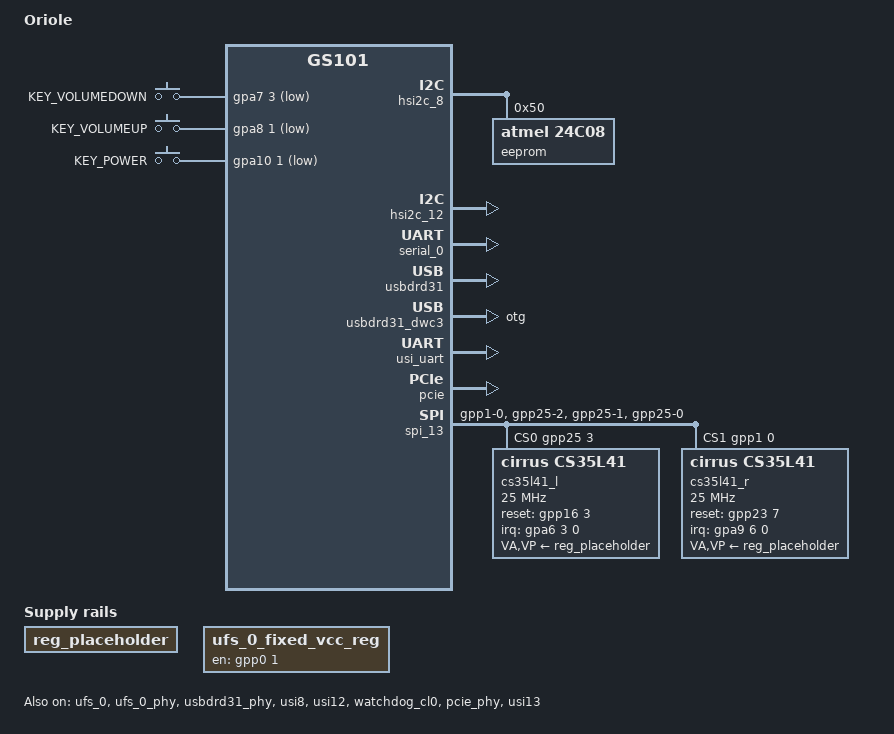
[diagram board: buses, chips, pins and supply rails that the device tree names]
// SPDX-License-Identifier: GPL-2.0-only
/*
 * Oriole Device Tree
 *
 * Copyright 2021-2023 Google LLC
 * Copyright 2023 Linaro Ltd - <peter.griffin@linaro.org>
 */

/dts-v1/;

#include <dt-bindings/gpio/gpio.h>
#include <dt-bindings/input/input.h>
#include "gs101-pinctrl.h"
#include "gs101.dtsi"

/ {
	model = "Oriole";
	compatible = "google,gs101-oriole", "google,gs101";

	aliases {
		serial0 = &serial_0;
	};

	chosen {
		/* Bootloader expects bootargs specified otherwise it crashes */
		bootargs = "";
		stdout-path = &serial_0;
	};

	gpio-keys {
		compatible = "gpio-keys";
		pinctrl-0 = <&key_voldown>, <&key_volup>, <&key_power>;
		pinctrl-names = "default";

		button-vol-down {
			label = "KEY_VOLUMEDOWN";
			linux,code = <KEY_VOLUMEDOWN>;
			gpios = <&gpa7 3 GPIO_ACTIVE_LOW>;
			wakeup-source;
		};

		button-vol-up {
			label = "KEY_VOLUMEUP";
			linux,code = <KEY_VOLUMEUP>;
			gpios = <&gpa8 1 GPIO_ACTIVE_LOW>;
			wakeup-source;
		};

		button-power {
			label = "KEY_POWER";
			linux,code = <KEY_POWER>;
			gpios = <&gpa10 1 GPIO_ACTIVE_LOW>;
			wakeup-source;
		};
	};

	/* TODO: Remove this once PMIC is implemented  */
	reg_placeholder: regulator-0 {
		compatible = "regulator-fixed";
		regulator-name = "placeholder_reg";
	};

	/* TODO: Remove this once S2MPG11 slave PMIC is implemented  */
	ufs_0_fixed_vcc_reg: regulator-1 {
		compatible = "regulator-fixed";
		regulator-name = "ufs-vcc";
		gpio = <&gpp0 1 GPIO_ACTIVE_HIGH>;
		regulator-boot-on;
		enable-active-high;
	};
};

&ext_24_5m {
	clock-frequency = <24576000>;
};

&ext_200m {
	clock-frequency = <200000000>;
};

&hsi2c_8 {
	status = "okay";

	eeprom: eeprom@50 {
		compatible = "atmel,24c08";
		reg = <0x50>;
	};
};

&hsi2c_12 {
	status = "okay";
	/* TODO: add the devices once drivers exist */
};

&pinctrl_far_alive {
	key_voldown: key-voldown-pins {
		samsung,pins = "gpa7-3";
		samsung,pin-function = <GS101_PIN_FUNC_EINT>;
		samsung,pin-pud = <GS101_PIN_PULL_NONE>;
		samsung,pin-drv = <GS101_PIN_DRV_2_5_MA>;
	};

	key_volup: key-volup-pins {
		samsung,pins = "gpa8-1";
		samsung,pin-function = <GS101_PIN_FUNC_EINT>;
		samsung,pin-pud = <GS101_PIN_PULL_NONE>;
		samsung,pin-drv = <GS101_PIN_DRV_2_5_MA>;
	};

	cs35l41_l_irq: cs35l41-l-irq {
		samsung,pins = "gpa6-3"; /* XEINT_3 */
		samsung,pin-function = <GS101_PIN_FUNC_EINT>;
		samsung,pin-pud = <GS101_PIN_PULL_NONE>;
	};

};

&pinctrl_gpio_alive {
	key_power: key-power-pins {
		samsung,pins = "gpa10-1";
		samsung,pin-function = <GS101_PIN_FUNC_EINT>;
		samsung,pin-pud = <GS101_PIN_PULL_NONE>;
		samsung,pin-drv = <GS101_PIN_DRV_2_5_MA>;
	};
	
	cs35l41_r_irq: cs35l41-r-irq {
		samsung,pins = "gpa9-6"; /* XEINT_26 */
		samsung,pin-function = <GS101_PIN_FUNC_EINT>;
		samsung,pin-pud = <GS101_PIN_PULL_NONE>;
	};
};

&serial_0 {
	status = "okay";
};

&ufs_0 {
	status = "okay";
	vcc-supply = <&ufs_0_fixed_vcc_reg>;
};

&ufs_0_phy {
	status = "okay";
};

&usbdrd31 {
	vdd10-supply = <&reg_placeholder>;
	vdd33-supply = <&reg_placeholder>;
	status = "okay";
};

&usbdrd31_dwc3 {
	dr_mode = "otg";
	usb-role-switch;
	role-switch-default-mode = "peripheral";
	maximum-speed = "super-speed-plus";
	status = "okay";
};

&usbdrd31_phy {
	/* TODO: Update these once PMIC is implemented */
	pll-supply = <&reg_placeholder>;
	dvdd-usb20-supply = <&reg_placeholder>;
	vddh-usb20-supply = <&reg_placeholder>;
	vdd33-usb20-supply = <&reg_placeholder>;
	vdda-usbdp-supply = <&reg_placeholder>;
	vddh-usbdp-supply = <&reg_placeholder>;
	status = "okay";
};

&usi_uart {
	samsung,clkreq-on; /* needed for UART mode */
	status = "okay";
};

&usi8 {
	samsung,mode = <USI_V2_I2C>;
	status = "okay";
};

&usi12 {
	samsung,mode = <USI_V2_I2C>;
	status = "okay";
};

&watchdog_cl0 {
	timeout-sec = <30>;
	status = "okay";
};


&pcie {
	status = "okay";
	pinctrl-names = "default";
	pinctrl-0 = <&pcie1_clkreq &pcie_wlanen>;
	vdd10-supply = <&reg_placeholder>;
	vdd18-supply = <&reg_placeholder>;
	assigned-clocks = <&cmu_hsi2 CLK_MOUT_HSI2_PCIE_USER>,
			  <&cmu_top CLK_MOUT_CMU_HSI2_PCIE>;
	assigned-clock-rates = <0>, <100000000>;
	interrupt-map-mask = <0 0 0 0>;
	interrupt-map = <0 0 0 0 &gic 0 GIC_SPI 509 IRQ_TYPE_LEVEL_HIGH>;
};

&pcie_phy {
	status = "okay";
};

&pinctrl_peric0 {
	cs35l41_l_rst: cs35l41-l-rst {
		samsung,pins = "gpp16-3"; /* XAPC_USI8_CTSN_CSN */
		samsung,pin-function = <GS101_PIN_FUNC_OUTPUT>;
		samsung,pin-pud = <GS101_PIN_PULL_NONE>;
		samsung,pin-con-pdn = <GS101_PIN_PDN_PREV>;
		samsung,pin-pud-pdn = <GS101_PIN_PULL_NONE>;
	};

	cs35l41_cs2: cs35l41-cs2 {
		samsung,pins = "gpp1-0"; /* XAPC_GPIO2 */
		samsung,pin-pud = <GS101_PIN_PULL_NONE>;
	};
};

&pinctrl_peric1 {
	cs35l41_r_rst: cs35l41-r-rst {
		samsung,pins = "gpp23-7"; /* XAPC_USI12_CTSN_CSN */
		samsung,pin-function = <GS101_PIN_FUNC_OUTPUT>;
		samsung,pin-pud = <GS101_PIN_PULL_NONE>;
		samsung,pin-con-pdn = <GS101_PIN_PDN_PREV>;
		samsung,pin-pud-pdn = <GS101_PIN_PULL_NONE>;
	};

	cs35l41_miso: cs35l41-miso {
		samsung,pins = "gpp25-2"; /* XAPC_USI13_RTSn_DI */
		samsung,pin-pud = <GS101_PIN_PULL_DOWN>;
	};

	cs35l41_mosi: cs35l41-mosi {
		samsung,pins = "gpp25-1"; /* XAPC_USI13_TXD_DO_SDA */
		samsung,pin-drv = <GS101_PIN_DRV_5_MA>;
	};

	cs35l41_clk: cs35l41-clk {
		samsung,pins = "gpp25-0"; /* XAPC_USI13_RXD_CLK_SCL */
		samsung,pin-drv = <GS101_PIN_DRV_5_MA>;
	};
};

&usi13 {
	samsung,mode = <USI_V2_SPI>;
	status = "okay";
};

&spi_13 {
	/* XAPC_USI13 */
	#address-cells = <1>;
	#size-cells = <0>;
	status = "okay";
	num-cs = <1>;

	pinctrl-names = "default";
	pinctrl-0 = <&spi13_bus &spi13_cs_func &cs35l41_cs2
		     &cs35l41_miso &cs35l41_mosi &cs35l41_clk>;
	cs-gpios = <&gpp25 3 GPIO_ACTIVE_HIGH>, <&gpp1 0 GPIO_ACTIVE_HIGH>;
	
	cs35l41_l: cs35l41@0 {
		#sound-dai-cells = <1>;
		compatible = "cirrus,cs35l41";
		spi-max-frequency = <25000000>;
		reg = <0>;

		status = "okay";

		pinctrl-names = "default";
		pinctrl-0 = <&cs35l41_l_irq &cs35l41_l_rst>;

		interrupt-parent = <&gpa6>;
		interrupts = <3 0 0>;

		reset-gpios = <&gpp16 3 0>;

		VA-supply = <&reg_placeholder>;
		VP-supply = <&reg_placeholder>;

		cirrus,boost-peak-milliamp = <3500>;
		cirrus,boost-ind-nanohenry = <1000>;
		cirrus,boost-cap-microfarad = <30>;

		cirrus,asp-sdout-hiz = <3>;
		cirrus,tuning-has-prefix;
		cirrus,left-channel-amp;
		cirrus,hw-noise-gate-select = <63>;
		cirrus,hibernate-enable;

		cirrus,gpio-config2 {
			cirrus,gpio-src-select = <0x5>;
			cirrus,gpio-output-enable;
		};

		controller-data {
			cs-gpio = <&gpp25 3 GPIO_ACTIVE_HIGH>;
			samsung,spi-feedback-delay = <1>;
			/* SET SPI CS CONTROL TO AUTOMATIC */
			samsung,spi-chip-select-mode = <1>;
		};
	};


	cs35l41_r: cs35l41@1 {
		#sound-dai-cells = <1>;
		sound-name-prefix = "R";
		compatible = "cirrus,cs35l41";
		spi-max-frequency = <25000000>;
		reg = <1>;

		status = "okay";

		pinctrl-names = "default";
		pinctrl-0 = <&cs35l41_r_irq &cs35l41_r_rst>;

		interrupt-parent = <&gpa9>;
		interrupts = <6 0 0>;

		reset-gpios = <&gpp23 7 0>;

		VA-supply = <&reg_placeholder>;
		VP-supply = <&reg_placeholder>;

		cirrus,boost-peak-milliamp = <3500>;
		cirrus,boost-ind-nanohenry = <1000>;
		cirrus,boost-cap-microfarad = <30>;

		cirrus,asp-sdout-hiz = <3>;
		cirrus,tuning-has-prefix;
		cirrus,left-channel-amp;
		cirrus,hw-noise-gate-select = <63>;
		cirrus,hibernate-enable;

		cirrus,gpio-config2 {
			cirrus,gpio-src-select = <0x5>;
			cirrus,gpio-output-enable;
		};

		controller-data {
			cs-gpio =<&gpp1 0 GPIO_ACTIVE_HIGH>;
			samsung,spi-feedback-delay = <1>;
			/* SET SPI CS CONTROL TO AUTOMATIC */
			samsung,spi-chip-select-mode = <1>;
		};
	};

};
